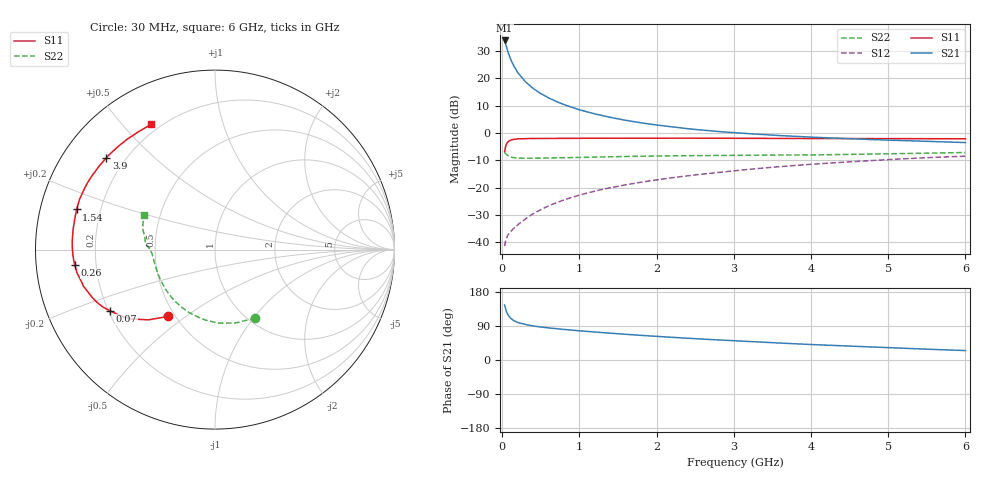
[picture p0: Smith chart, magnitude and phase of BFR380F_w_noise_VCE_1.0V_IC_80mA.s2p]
! Infineon Technologies  Discrete & RF Semiconductors
! BFR380F
! VCE =  1.0 V,  IC =  80 mA
! Common Emitter S-Parameters:  Nov 2015
# GHz  S  MA  R  50
!  f  S11  S21  S12  S22
! GHz  MAG  ANG  MAG  ANG  MAG  ANG  MAG  ANG
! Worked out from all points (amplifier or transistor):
!   206 points, 30 MHz to 6 GHz, reference 50 ohm
!   highest |S21| = 33.9 dB at 30 MHz (marker M1)
!   |S21| within 3 dB of that: start of sweep to 60.51 MHz
!   unconditionally stable (mu >= 1): 286.4 MHz to end of sweep
!   at 200 MHz: K = 0.90, MSG = 28.0 dB, |S12| = -33.7 dB
!   at 1.56 GHz: K = 1.17, MAG = 9.5 dB, |S12| = -19.2 dB
!   at 6 GHz: K = 1.07, MAG = 0.8 dB, |S12| = -8.5 dB
!   lowest NFmin = 1.95 dB at 450 MHz
!   S11 on the Smith chart (normalised r, x): 30 MHz: 0.46, -0.43; 70 MHz: 0.21, -0.26; 260 MHz: 0.12, -0.05; 1.54 GHz: 0.11, +0.14; 3.9 GHz: 0.13, +0.36; 6 GHz: 0.17, +0.60
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0.03  0.4561 -125.2  49.73 145.2  0.0084 62.5  0.4429 -59.5
0.04  0.5397 -133.5  44.48 137.0  0.0101 57.6  0.4243 -74.6
0.05  0.6072 -140.5  39.7 130.1  0.0112 53.6  0.4099 -87.4
0.06  0.647 -145.6  35.4 125.1  0.0124 52.5  0.3964 -97.6
0.07  0.6773 -149.8  31.84 120.5  0.0132 49.7  0.3855 -106.2
0.08  0.701 -152.8  28.83 117.2  0.0139 49.6  0.3779 -113.3
0.1  0.7299 -157.8  24.1 111.9  0.0151 49.6  0.3663 -124.4
0.13  0.7539 -163.3  19.21 106.4  0.0168 50.6  0.3568 -136.0
0.15  0.7632 -165.8  16.87 103.8  0.0178 52.0  0.3529 -141.5
0.2  0.7793 -170.3  12.85 99.1  0.0206 55.4  0.3478 -150.9
0.26  0.7857 -173.7  10.06 95.5  0.0241 59.3  0.3449 -157.8
0.36  0.7919 -177.6  7.296 91.3  0.0304 63.9  0.3446 -164.8
0.5  0.7953 178.7  5.262 87.0  0.0394 67.7  0.3458 -170.2
0.7  0.7973 175.0  3.774 82.6  0.0526 70.6  0.3497 -174.4
1.04  0.799 169.9  2.569 76.4  0.0752 72.0  0.3571 -178.5
1.54  0.8025 163.8  1.77 68.7  0.1082 71.7  0.3695 178.5
2.02  0.8043 158.7  1.389 62.2  0.1395 70.2  0.3785 176.8
3.1  0.7982 148.2  0.99 49.8  0.209 65.5  0.3912 173.4
3.9  0.7926 139.8  0.853 41.8  0.2603 60.9  0.3949 170.8
4.1  0.7912 137.7  0.827 40.0  0.2724 59.6  0.397 169.9
5.1  0.7845 127.4  0.732 31.8  0.3307 53.3  0.418 163.9
6  0.7831 117.0  0.667 24.9  0.3754 46.7  0.438 154.0
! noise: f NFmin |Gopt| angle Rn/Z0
0.45  1.95  0.5  -173  0.08
0.9  1.97  0.53  -170  0.08
1.8  2.31  0.57  -158  0.12
1.9  2.43  0.58  -158  0.12
2.4  2.52  0.58  -149  0.18
3.5  3.31  0.61  -139  0.36
